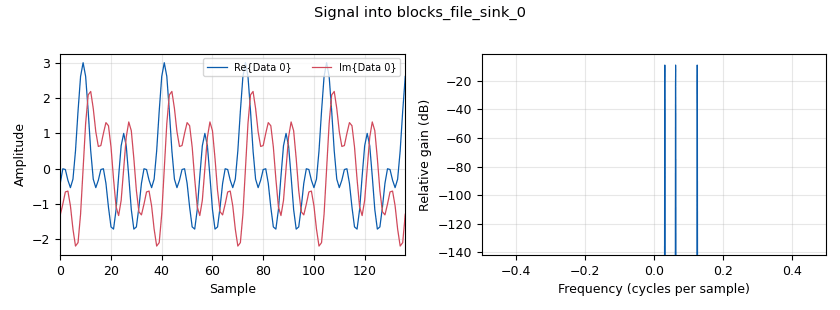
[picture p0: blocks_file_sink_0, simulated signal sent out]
<?xml version='1.0' encoding='utf-8'?>
<?grc format='1' created='3.7.10'?>
<flow_graph>
<block>
<key>options</key>
<param><key>id</key><value>top_block</value></param>
<param><key>generate_options</key><value>qt_gui</value></param>
</block>
<block>
<key>variable</key>
<param><key>id</key><value>samp_rate</value></param>
<param><key>value</key><value>32000</value></param>
</block>
<block>
<key>analog_sig_source_x</key>
<param><key>id</key><value>analog_sig_source_x_0</value></param>
<param><key>amp</key><value>1</value></param>
<param><key>freq</key><value>4000</value></param>
<param><key>offset</key><value>0</value></param>
<param><key>type</key><value>complex</value></param>
<param><key>samp_rate</key><value>samp_rate</value></param>
<param><key>waveform</key><value>analog.GR_COS_WAVE</value></param>
</block>
<block>
<key>analog_sig_source_x</key>
<param><key>id</key><value>analog_sig_source_x_0_0</value></param>
<param><key>amp</key><value>1</value></param>
<param><key>freq</key><value>2000</value></param>
<param><key>offset</key><value>0</value></param>
<param><key>type</key><value>complex</value></param>
<param><key>samp_rate</key><value>samp_rate</value></param>
<param><key>waveform</key><value>analog.GR_COS_WAVE</value></param>
</block>
<block>
<key>analog_sig_source_x</key>
<param><key>id</key><value>analog_sig_source_x_1</value></param>
<param><key>amp</key><value>1</value></param>
<param><key>freq</key><value>1000</value></param>
<param><key>offset</key><value>0</value></param>
<param><key>type</key><value>complex</value></param>
<param><key>samp_rate</key><value>samp_rate</value></param>
<param><key>waveform</key><value>analog.GR_COS_WAVE</value></param>
</block>
<block>
<key>blocks_add_xx</key>
<param><key>id</key><value>blocks_add_xx_0</value></param>
<param><key>type</key><value>complex</value></param>
<param><key>num_inputs</key><value>3</value></param>
</block>
<block>
<key>blocks_file_sink</key>
<param><key>id</key><value>blocks_file_sink_0</value></param>
<param><key>file</key><value>/home/faux/1k-2k-4k-cos-sr32k.cf32</value></param>
<param><key>type</key><value>complex</value></param>
</block>
<block>
<key>blocks_head</key>
<param><key>id</key><value>blocks_head_0</value></param>
<param><key>num_items</key><value>samp_rate / 4</value></param>
<param><key>type</key><value>complex</value></param>
</block>
<connection><source_block_id>analog_sig_source_x_0</source_block_id><sink_block_id>blocks_add_xx_0</sink_block_id><source_key>0</source_key><sink_key>1</sink_key></connection>
<connection><source_block_id>analog_sig_source_x_0_0</source_block_id><sink_block_id>blocks_add_xx_0</sink_block_id><source_key>0</source_key><sink_key>2</sink_key></connection>
<connection><source_block_id>analog_sig_source_x_1</source_block_id><sink_block_id>blocks_add_xx_0</sink_block_id><source_key>0</source_key><sink_key>0</sink_key></connection>
<connection><source_block_id>blocks_add_xx_0</source_block_id><sink_block_id>blocks_head_0</sink_block_id><source_key>0</source_key><sink_key>0</sink_key></connection>
<connection><source_block_id>blocks_head_0</source_block_id><sink_block_id>blocks_file_sink_0</sink_block_id><source_key>0</source_key><sink_key>0</sink_key></connection>
</flow_graph>
